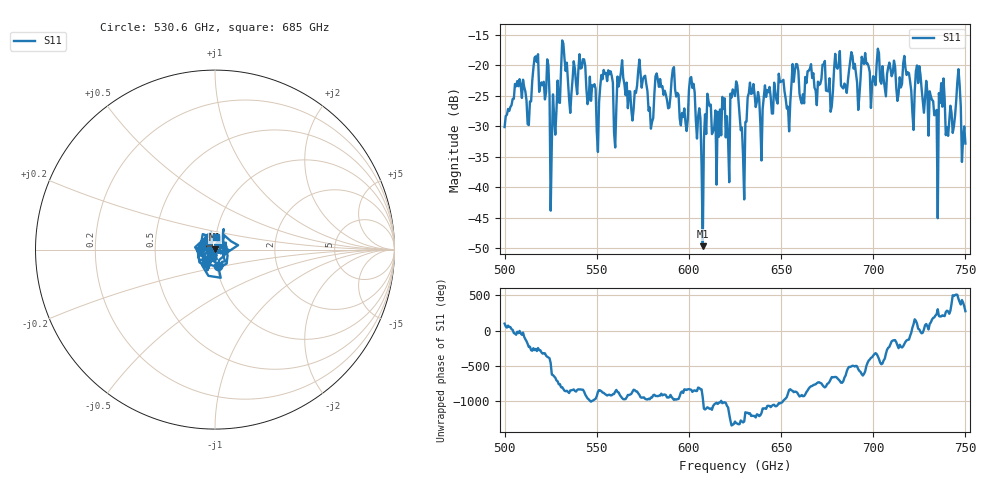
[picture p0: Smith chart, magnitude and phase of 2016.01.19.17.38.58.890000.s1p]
!Created with skrf (http://scikit-rf.org).
# GHz S RI R 50.0
!freq ReS11 ImS11
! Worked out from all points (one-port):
!   401 points, 500 GHz to 750 GHz, reference 50 ohm
!   lowest |S11| = -49.7 dB at 607.5 GHz (marker M1), VSWR 1.01, Z = 49.8 + j0.228 ohm
!   |S11| at or under -10 dB: start of sweep to end of sweep
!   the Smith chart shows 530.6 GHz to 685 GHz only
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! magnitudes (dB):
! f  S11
! 500 GHz  -30.1
! 506.9 GHz  -22.6
! 513.1 GHz  -29.8
! 516.9 GHz  -18.5
! 523.1 GHz  -19.0
! 526.2 GHz  -24.8
! 531.2 GHz  -15.9
! 550.6 GHz  -34.2
! 562.5 GHz  -22.4
! 570 GHz  -27.2
! 574.4 GHz  -23.7
! 579.4 GHz  -30.4
! 583.1 GHz  -22.3
! 593.8 GHz  -24.5
! 601.9 GHz  -23.7
! 607.5 GHz  -49.7
! 610 GHz  -24.7
! 620.6 GHz  -28.4
! 625 GHz  -25.0
! 629.4 GHz  -34.9
! 633.8 GHz  -24.7
! 639.4 GHz  -35.6
! 656.2 GHz  -19.8
! 687.5 GHz  -19.3
! 718.8 GHz  -21.1
! 733.8 GHz  -28.1
! 746.2 GHz  -20.6
! 750 GHz  -32.8
